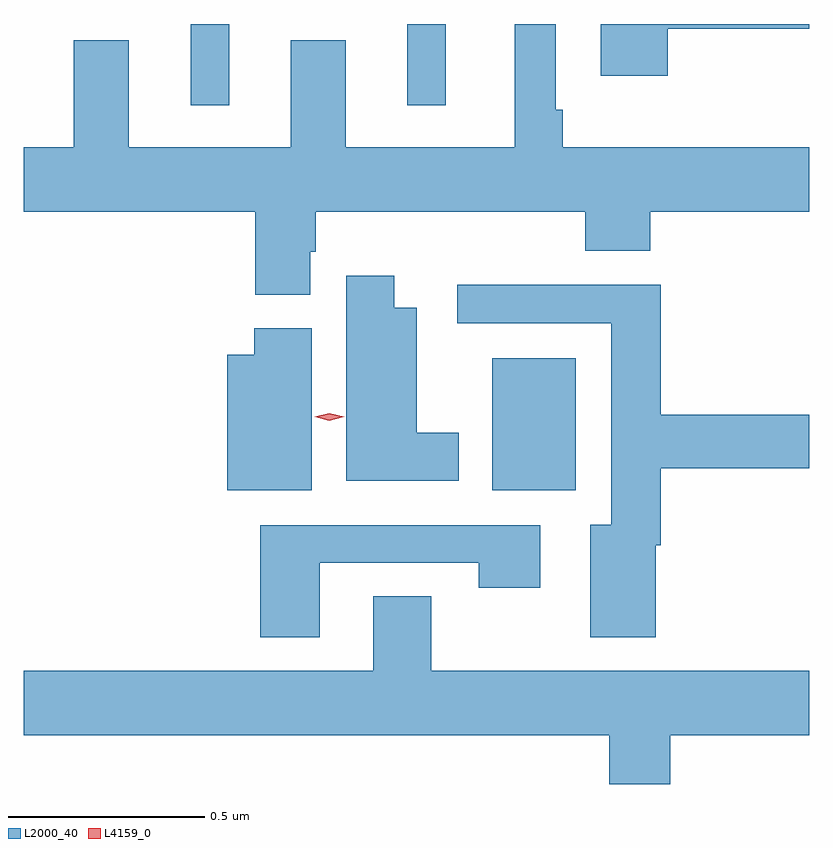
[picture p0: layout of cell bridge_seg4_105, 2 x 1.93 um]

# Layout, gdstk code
import gdstk
lib = gdstk.Library(unit=1e-6, precision=1e-09)
def R(c, l, rs):  # rectangles x0, y0, x1, y1
    for r in rs: c.add(gdstk.rectangle(r[:2], r[2:], *l))
def P(c, l, *ps):  # polygons
    for p in ps: c.add(gdstk.Polygon(p, *l))
L2000_40 = (2000, 40)
L4159_0 = (4159, 0)

bridge_seg4_105 = lib.new_cell('bridge_seg4_105')
R(bridge_seg4_105, L2000_40, [(582.428,766.808,582.64,767.143), (581.66,767.787,581.758,767.994), (582.212,767.787,582.31,767.994)])
P(bridge_seg4_105, L2000_40, [(581.965,767.415),(581.978,767.415),(581.978,767.516),(582.665,767.516),(582.665,767.417),(582.83,767.417),(582.83,767.516),(583.235,767.516),(583.235,767.68),(582.607,767.68),(582.607,767.776),(582.589,767.776),(582.589,767.994),(582.485,767.994),(582.485,767.68),(582.055,767.68),(582.055,767.953),(581.915,767.953),(581.915,767.68),(581.503,767.68),(581.503,767.953),(581.363,767.953),(581.363,767.68),(581.235,767.68),(581.235,767.516),(581.825,767.516),(581.825,767.305),(581.965,767.305)],
  [(582.875,767.982),(583.235,767.982),(583.235,767.994),(582.704,767.994),(582.704,767.862),(582.875,767.862)],
  [(582.343,766.954),(582.235,766.954),(582.235,767.272),(582.178,767.272),(582.178,767.353),(582.056,767.353),(582.056,766.832),(582.343,766.832)],
  [(582.844,766.667),(582.857,766.667),(582.857,766.864),(583.235,766.864),(583.235,767),(582.857,767),(582.857,767.33),(582.339,767.33),(582.339,767.232),(582.731,767.232),(582.731,766.72),(582.677,766.72),(582.677,766.434),(582.844,766.434)],
  [(581.968,767.22),(581.822,767.22),(581.822,767.152),(581.753,767.152),(581.753,766.808),(581.968,766.808)],
  [(581.989,766.623),(582.394,766.623),(582.394,766.56),(582.55,766.56),(582.55,766.719),(581.837,766.719),(581.837,766.434),(581.989,766.434)],
  [(582.881,766.184),(583.235,766.184),(583.235,766.348),(582.273,766.348),(582.273,766.538),(582.125,766.538),(582.125,766.348),(581.235,766.348),(581.235,766.184),(582.725,766.184),(582.725,766.06),(582.881,766.06)])
P(bridge_seg4_105, L4159_0, [(582.013,766.984),(581.976,766.994),(581.975,766.994),(581.976,766.994),(582.013,767.004),(582.051,766.994),(582.051,766.994),(582.051,766.994)])

lib.write_gds('bridge_seg4_105.gds')
